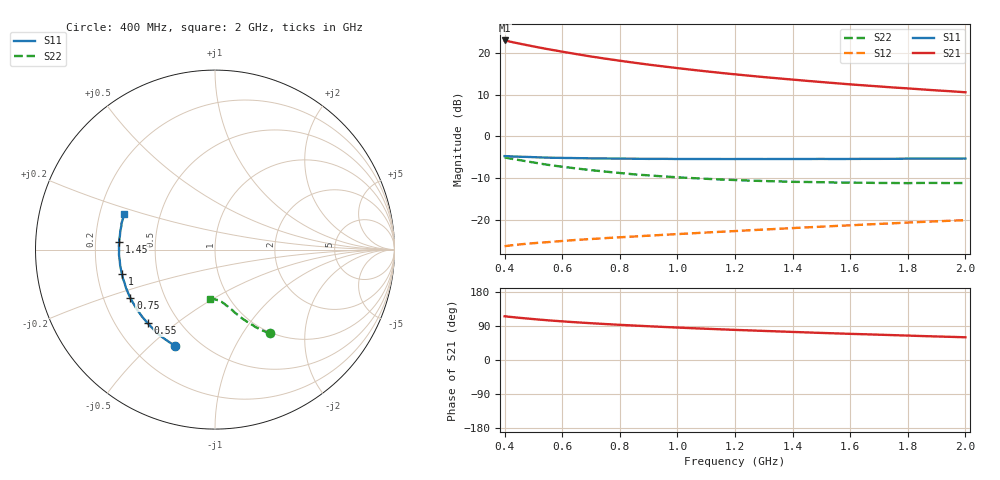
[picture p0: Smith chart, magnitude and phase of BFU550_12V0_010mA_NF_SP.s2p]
! Filename:  P:\Prog\Test\Noise\ATS_data\Testdata_Net\06 Compressed Noise after Statistics\BFU550_APG2013_43_D05_12p0V_010mA_NF_CM01_D.sf
! Date/Time: Fri 26/Apr/2013 13:07:25
! BFU550_APG2013_43_D05_12p0V_1to35mA_NF_CM01_Bias5_R.sf
! Noise Parameter Data File
! BFU550_APG2013_43_D05_12p0V_1to35mA_NF_CM01
! Date/time: Thu Apr 25 18:42:45 2013
! VAR V_out= 12.000000
! VAR I_out= 9.995000
! VAR V_in= 0.799800
! VAR I_in= 0.093005
! Device data file deembeded for feedlines and parallel
! Original file: \06 Compressed Noise after Statistics\BFU550_APG2013_43_D05_12p0V_010mA_NF_CM01_R.sf
! Feed-files: PR047V01_250413_Feed1.s2p, PR047V01_250413_Feed2.s2p
! Parallel-file: PR047V01_250413_Par.s2p
# MHz S MA R 50
!  Freq-MHz  S11-mag  S11-arg  S21-mag  S21-arg  S12-mag  S12-arg  S22-mag  S22-arg
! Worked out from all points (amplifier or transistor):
!   37 points, 400 MHz to 2 GHz, reference 50 ohm
!   highest |S21| = 23.0 dB at 400 MHz (marker M1)
!   |S21| within 3 dB of that: start of sweep to 626.3 MHz
!   unconditionally stable (mu >= 1): 1.815 GHz to end of sweep
!   at 500 MHz: K = 0.47, MSG = 23.6 dB, |S12| = -25.6 dB
!   at 1.1 GHz: K = 0.81, MSG = 19.3 dB, |S12| = -23.1 dB
!   at 2 GHz: K = 1.03, MAG = 14.2 dB, |S12| = -20.1 dB
!   lowest NFmin = 0.76 dB at 420 MHz
!   S11 on the Smith chart (normalised r, x): 400 MHz: 0.37, -0.60; 550 MHz: 0.34, -0.40; 750 MHz: 0.31, -0.24; 1 GHz: 0.31, -0.12; 1.45 GHz: 0.30, +0.04; 2 GHz: 0.31, +0.17
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400  0.5801 -112.5  14.14 115.3  0.04822 46.7  0.5588 -56.6
433  0.5731 -117.5  13.36 112.7  0.04975 45.7  0.5325 -58.7
460  0.5692 -121.3  12.77 110.7  0.0509 45.0  0.5137 -60.3
500  0.563 -126.4  11.99 108.0  0.05237 44.2  0.4868 -62.4
550  0.5556 -132.5  11.12 104.7  0.0539 43.5  0.4558 -64.6
600  0.5518 -137.4  10.38 102.0  0.05568 43.1  0.4327 -66.7
650  0.5485 -142.1  9.688 99.4  0.05729 42.7  0.4121 -68.5
700  0.545 -146.1  9.083 97.1  0.05872 42.6  0.3936 -70.0
750  0.5435 -150.1  8.552 94.9  0.06025 42.6  0.378 -71.5
800  0.5411 -153.5  8.078 92.8  0.06165 42.6  0.3638 -72.9
850  0.5397 -156.8  7.644 90.9  0.06297 42.7  0.3504 -74.1
900  0.537 -160.0  7.253 89.0  0.06445 43.0  0.3406 -75.4
950  0.5378 -162.6  6.911 87.3  0.06588 43.2  0.3313 -76.6
1000  0.5356 -165.3  6.589 85.6  0.06732 43.4  0.3229 -77.6
1100  0.5357 -170.1  6.025 82.5  0.07028 44.0  0.3099 -79.6
1200  0.5346 -174.9  5.548 79.5  0.07319 44.4  0.2996 -81.7
1300  0.5345 -178.8  5.142 76.8  0.07629 45.0  0.2915 -83.5
1450  0.5358 175.4  4.634 72.8  0.08106 45.6  0.2838 -86.2
1500  0.5367 173.8  4.484 71.5  0.08264 45.8  0.2822 -87.2
1600  0.5364 170.2  4.204 69.0  0.08577 46.1  0.2791 -88.9
1750  0.5381 165.7  3.857 65.6  0.09073 46.6  0.276 -91.6
2000  0.5426 158.8  3.381 60.0  0.0989 47.2  0.276 -96.0
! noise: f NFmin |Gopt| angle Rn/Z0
400  0.8065  0.08632  147.2  0.0894
460  0.7681  0.09963  150.5  0.0832
600  0.7816  0.1011  152.8  0.0853
800  0.8571  0.1427  156.4  0.0782
1000  0.875  0.1692  158.3  0.0757
1200  0.9199  0.1901  160.3  0.0755
1400  0.9363  0.2242  166.6  0.0716
1600  0.9717  0.2428  171  0.072
1800  0.959  0.2863  173.9  0.0638
2000  1.045  0.282  179.2  0.0757
